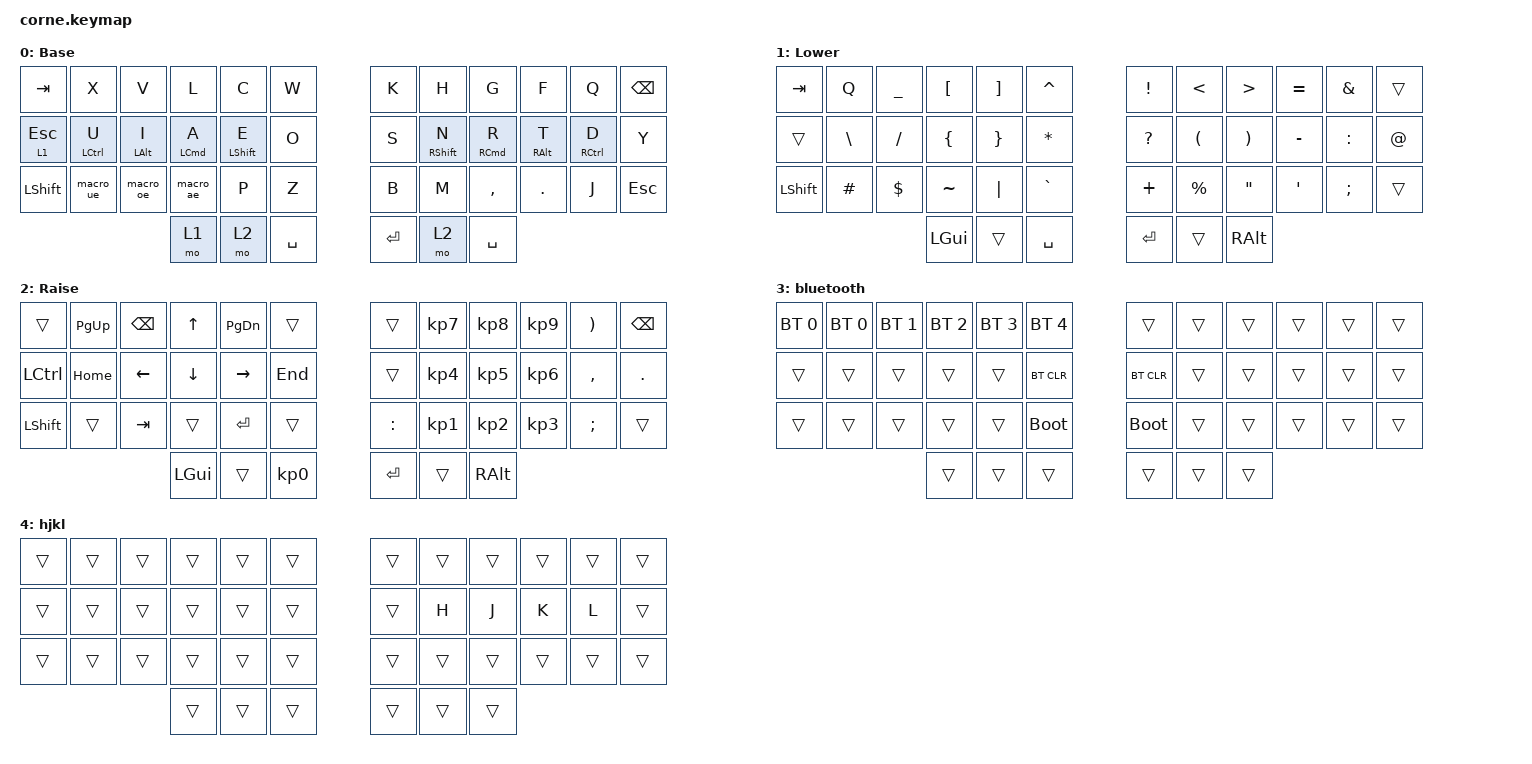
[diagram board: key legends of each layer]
/*
 * Copyright (c) 2020 The ZMK Contributors
 *
 * SPDX-License-Identifier: MIT
 */

#include <behaviors.dtsi>
#include <dt-bindings/zmk/bt.h>
#include <dt-bindings/zmk/keys.h>

&mt {
    quick-tap-ms = <0>;
    flavor = "tap-preferred";
    tapping-term-ms = <300>;
};

/ {
    macros {
        macro_ae: macro_ae {
            compatible = "zmk,behavior-macro";
            #binding-cells = <0>;
            bindings = <&kp DOUBLE_QUOTES &kp A>;
            label = "MACRO_AE";
        };

        macro_oe: macro_oe {
            compatible = "zmk,behavior-macro";
            #binding-cells = <0>;
            bindings = <&kp DOUBLE_QUOTES &kp O>;
            label = "MACRO_OE";
        };

        macro_ue: macro_ue {
            compatible = "zmk,behavior-macro";
            #binding-cells = <0>;
            bindings = <&kp DOUBLE_QUOTES &kp U>;
            label = "MACRO_UE";
        };
    };

    combos {
        compatible = "zmk,combos";

        Bluetooh_Layer {
            bindings = <&mo 3>;
            key-positions = <24 38>;
        };

        hjkl {
            bindings = <&mo 4>;
            key-positions = <38 37>;
        };
    };

    keymap {
        compatible = "zmk,keymap";

        default_layer {
            // -----------------------------------------------------------------------------------------
            // |  TAB |  Q  |  W  |  E  |  R  |  T  |   |  Y  |  U   |  I  |  O  |  P  | BKSP |
            // | CTRL |  A  |  S  |  D  |  F  |  G  |   |  H  |  J   |  K  |  L  |  ;  |  '   |
            // | SHFT |  Z  |  X  |  C  |  V  |  B  |   |  N  |  M   |  ,  |  .  |  /  | ESC  |
            //                    | GUI | LWR | SPC |   | ENT | RSE  | ALT |

            display-name = "Base";
            bindings = <
&kp TAB       &kp X        &kp V           &kp L               &kp C             &kp W        &kp K    &kp H              &kp G                &kp F            &kp Q                &kp BSPC
&lt 1 ESCAPE  &mt LCTRL U  &mt LEFT_ALT I  &mt LEFT_COMMAND A  &mt LEFT_SHIFT E  &kp O        &kp S    &mt RIGHT_SHIFT N  &mt RIGHT_COMMAND R  &mt RIGHT_ALT T  &mt RIGHT_CONTROL D  &kp Y
&kp LSHFT     &macro_ue    &macro_oe       &macro_ae           &kp P             &kp Z        &kp B    &kp M              &kp COMMA            &kp DOT          &kp J                &kp ESC
                                           &mo 1               &mo 2             &kp SPACE    &kp RET  &mo 2              &kp SPACE
            >;
        };

        neo_layer_3 {
            // -----------------------------------------------------------------------------------------
            // |  TAB |  1  |  2  |  3  |  4  |  5  |   |  6  |  7  |  8  |  9  |  0  | BKSP |
            // | BTCLR| BT1 | BT2 | BT3 | BT4 | BT5 |   | LFT | DWN |  UP | RGT |     |      |
            // | SHFT |     |     |     |     |     |   |     |     |     |     |     |      |
            //                    | GUI |     | SPC |   | ENT |     | ALT |

            display-name = "Lower";
            bindings = <
&kp TAB    &kp Q          &kp UNDER   &kp LEFT_BRACKET  &kp RIGHT_BRACKET  &kp CARET    &kp EXCL      &kp LT                &kp GT                 &kp EQUAL         &kp AMPS   &trans
&trans     &kp BACKSLASH  &kp SLASH   &kp LEFT_BRACE    &kp RIGHT_BRACE    &kp STAR     &kp QUESTION  &kp LEFT_PARENTHESIS  &kp RIGHT_PARENTHESIS  &kp MINUS         &kp COLON  &kp AT
&kp LSHFT  &kp HASH       &kp DOLLAR  &kp TILDE         &kp PIPE           &kp GRAVE    &kp PLUS      &kp PRCNT             &kp DOUBLE_QUOTES      &kp SINGLE_QUOTE  &kp SEMI   &trans
                                      &kp LGUI          &trans             &kp SPACE    &kp RET       &trans                &kp RALT
            >;
        };

        neo_layer_4 {
            // -----------------------------------------------------------------------------------------
            // |  TAB |  !  |  @  |  #  |  $  |  %  |   |  ^  |  &  |  *  |  (  |  )  | BKSP |
            // | CTRL |     |     |     |     |     |   |  -  |  =  |  [  |  ]  |  \  |  `   |
            // | SHFT |     |     |     |     |     |   |  _  |  +  |  {  |  }  | "|" |  ~   |
            //                    | GUI |     | SPC |   | ENT |     | ALT |

            display-name = "Raise";
            bindings = <
&trans     &kp PAGE_UP  &kp BSPC        &kp UP_ARROW  &kp PAGE_DOWN  &trans             &trans     &kp KP_NUMBER_7  &kp KP_N8        &kp KP_NUMBER_9  &kp RPAR   &kp BSPC
&kp LCTRL  &kp HOME     &kp LEFT_ARROW  &kp DOWN      &kp RIGHT      &kp END            &trans     &kp KP_NUMBER_4  &kp KP_NUMBER_5  &kp KP_NUMBER_6  &kp COMMA  &kp PERIOD
&kp LSHFT  &trans       &kp TAB         &trans        &kp ENTER      &trans             &kp COLON  &kp KP_NUMBER_1  &kp KP_NUMBER_2  &kp KP_NUMBER_3  &kp SEMI   &trans
                                        &kp LGUI      &trans         &kp KP_NUMBER_0    &kp RET    &trans           &kp RALT
            >;
        };

        bluetooth {
            bindings = <
&bt BT_SEL 0  &bt BT_SEL 0  &bt BT_SEL 1  &bt BT_SEL 2  &bt BT_SEL 3  &bt BT_SEL 4    &trans       &trans  &trans  &trans  &trans  &trans
&trans        &trans        &trans        &trans        &trans        &bt BT_CLR      &bt BT_CLR   &trans  &trans  &trans  &trans  &trans
&trans        &trans        &trans        &trans        &trans        &bootloader     &bootloader  &trans  &trans  &trans  &trans  &trans
                                          &trans        &trans        &trans          &trans       &trans  &trans
            >;
        };

        hjkl {
            bindings = <
&trans  &trans  &trans  &trans  &trans  &trans    &trans  &trans  &trans  &trans  &trans  &trans
&trans  &trans  &trans  &trans  &trans  &trans    &trans  &kp H   &kp J   &kp K   &kp L   &trans
&trans  &trans  &trans  &trans  &trans  &trans    &trans  &trans  &trans  &trans  &trans  &trans
                        &trans  &trans  &trans    &trans  &trans  &trans
            >;
        };
    };
};
